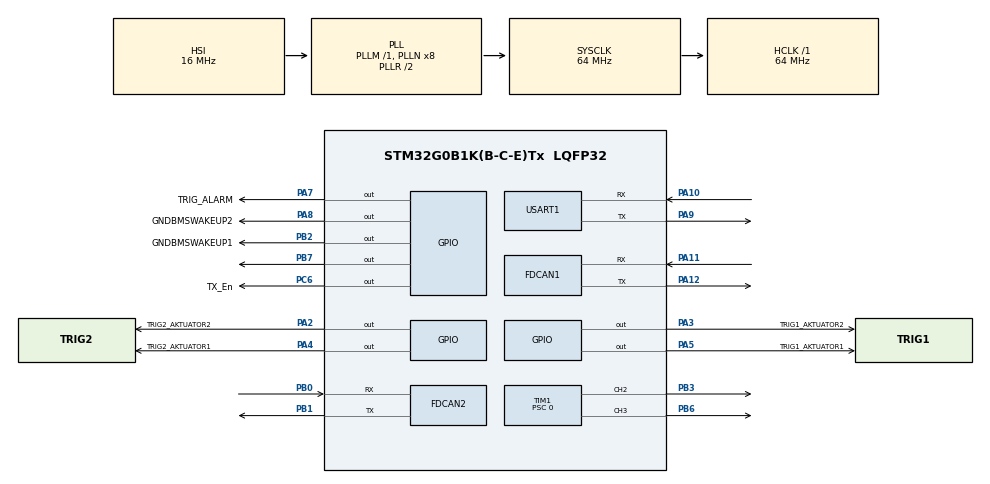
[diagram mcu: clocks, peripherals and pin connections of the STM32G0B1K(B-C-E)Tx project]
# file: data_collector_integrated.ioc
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Dma.Request0=TIM1_CH2
Dma.Request1=TIM1_CH3
Dma.Request2=USART1_RX
Dma.TIM1_CH2.0.Direction=DMA_MEMORY_TO_PERIPH
Dma.TIM1_CH2.0.EventEnable=DISABLE
Dma.TIM1_CH2.0.Instance=DMA1_Channel1
Dma.TIM1_CH2.0.MemDataAlignment=DMA_MDATAALIGN_HALFWORD
Dma.TIM1_CH2.0.MemInc=DMA_MINC_ENABLE
Dma.TIM1_CH2.0.Mode=DMA_NORMAL
Dma.TIM1_CH2.0.PeriphDataAlignment=DMA_PDATAALIGN_HALFWORD
Dma.TIM1_CH2.0.PeriphInc=DMA_PINC_DISABLE
Dma.TIM1_CH2.0.Polarity=HAL_DMAMUX_REQ_GEN_RISING
Dma.TIM1_CH2.0.Priority=DMA_PRIORITY_HIGH
Dma.TIM1_CH2.0.RequestNumber=1
Dma.TIM1_CH2.0.SignalID=NONE
Dma.TIM1_CH2.0.SyncEnable=DISABLE
Dma.TIM1_CH2.0.SyncPolarity=HAL_DMAMUX_SYNC_NO_EVENT
Dma.TIM1_CH2.0.SyncRequestNumber=1
Dma.TIM1_CH2.0.SyncSignalID=NONE
Dma.TIM1_CH3.1.Direction=DMA_MEMORY_TO_PERIPH
Dma.TIM1_CH3.1.EventEnable=DISABLE
Dma.TIM1_CH3.1.Instance=DMA1_Channel2
Dma.TIM1_CH3.1.MemDataAlignment=DMA_MDATAALIGN_HALFWORD
Dma.TIM1_CH3.1.MemInc=DMA_MINC_ENABLE
Dma.TIM1_CH3.1.Mode=DMA_NORMAL
Dma.TIM1_CH3.1.PeriphDataAlignment=DMA_PDATAALIGN_HALFWORD
Dma.TIM1_CH3.1.PeriphInc=DMA_PINC_DISABLE
Dma.TIM1_CH3.1.Polarity=HAL_DMAMUX_REQ_GEN_RISING
Dma.TIM1_CH3.1.Priority=DMA_PRIORITY_HIGH
Dma.TIM1_CH3.1.RequestNumber=1
Dma.TIM1_CH3.1.SignalID=NONE
Dma.TIM1_CH3.1.SyncEnable=DISABLE
Dma.TIM1_CH3.1.SyncPolarity=HAL_DMAMUX_SYNC_NO_EVENT
Dma.TIM1_CH3.1.SyncRequestNumber=1
Dma.TIM1_CH3.1.SyncSignalID=NONE
Dma.USART1_RX.2.Direction=DMA_PERIPH_TO_MEMORY
Dma.USART1_RX.2.EventEnable=DISABLE
Dma.USART1_RX.2.Instance=DMA1_Channel3
Dma.USART1_RX.2.MemDataAlignment=DMA_MDATAALIGN_BYTE
Dma.USART1_RX.2.MemInc=DMA_MINC_ENABLE
Dma.USART1_RX.2.Mode=DMA_NORMAL
Dma.USART1_RX.2.PeriphDataAlignment=DMA_PDATAALIGN_BYTE
Dma.USART1_RX.2.PeriphInc=DMA_PINC_DISABLE
Dma.USART1_RX.2.Polarity=HAL_DMAMUX_REQ_GEN_RISING
Dma.USART1_RX.2.Priority=DMA_PRIORITY_VERY_HIGH
Dma.USART1_RX.2.RequestNumber=1
Dma.USART1_RX.2.SignalID=NONE
Dma.USART1_RX.2.SyncEnable=DISABLE
Dma.USART1_RX.2.SyncPolarity=HAL_DMAMUX_SYNC_NO_EVENT
Dma.USART1_RX.2.SyncRequestNumber=1
Dma.USART1_RX.2.SyncSignalID=NONE
FDCAN1.CalculateBaudRateNominal=250000
FDCAN1.CalculateTimeBitNominal=4000
FDCAN1.CalculateTimeQuantumNominal=250.0
FDCAN1.NominalPrescaler=16
FDCAN1.NominalTimeSeg1=7
FDCAN1.NominalTimeSeg2=8
FDCAN2.CalculateBaudRateNominal=250000
FDCAN2.CalculateTimeBitNominal=4000
FDCAN2.CalculateTimeQuantumNominal=250.0
FDCAN2.NominalTimeSeg1=7
FDCAN2.NominalTimeSeg2=8
Mcu.Family=STM32G0
Mcu.Name=STM32G0B1K(B-C-E)Tx
Mcu.Package=LQFP32
NVIC.DMA1_Channel1_IRQn=true\:0\:0\:false\:false\:true\:false\:true\:true
NVIC.DMA1_Channel2_3_IRQn=true\:0\:0\:false\:false\:true\:false\:true\:true
NVIC.TIM16_FDCAN_IT0_IRQn=true\:0\:0\:false\:false\:true\:true\:true\:true
NVIC.TIM17_FDCAN_IT1_IRQn=true\:0\:0\:false\:false\:true\:true\:true\:true
NVIC.TIM1_BRK_UP_TRG_COM_IRQn=true\:0\:0\:false\:false\:true\:true\:true\:true
NVIC.TIM1_CC_IRQn=true\:0\:0\:false\:false\:true\:true\:true\:true
NVIC.USART1_IRQn=true\:0\:0\:false\:false\:true\:true\:true\:true
PA10.Mode=Asynchronous
PA10.Signal=USART1_RX
PA11\ [PA9].Mode=FDCAN_Activate
PA11\ [PA9].Signal=FDCAN1_RX
PA12\ [PA10].Mode=FDCAN_Activate
PA12\ [PA10].Signal=FDCAN1_TX
PA13.Mode=Serial_Wire
PA13.Signal=SYS_SWDIO
PA14-BOOT0.Mode=Serial_Wire
PA14-BOOT0.Signal=SYS_SWCLK
PA2.GPIO_Label=TRIG2_AKTUATOR2
PA2.Signal=GPIO_Output
PA3.GPIO_Label=TRIG1_AKTUATOR2
PA3.Signal=GPIO_Output
PA4.GPIO_Label=TRIG2_AKTUATOR1
PA4.Signal=GPIO_Output
PA5.GPIO_Label=TRIG1_AKTUATOR1
PA5.Signal=GPIO_Output
PA7.GPIO_Label=TRIG_ALARM
PA7.Signal=GPIO_Output
PA8.GPIO_Label=GNDBMSWAKEUP2
PA8.Signal=GPIO_Output
PA9.Mode=Asynchronous
PA9.Signal=USART1_TX
PB0.Mode=FDCAN_Activate
PB0.Signal=FDCAN2_RX
PB1.Mode=FDCAN_Activate
PB1.Signal=FDCAN2_TX
PB2.GPIO_Label=GNDBMSWAKEUP1
PB2.Signal=GPIO_Output
PB3.Signal=S_TIM1_CH2
PB6.Signal=S_TIM1_CH3
PB7.Signal=GPIO_Output
PC6.GPIO_Label=TX_En
PC6.Signal=GPIO_Output
ProjectManager.HeapSize=0x200
ProjectManager.StackSize=0x400
ProjectManager.TargetToolchain=STM32CubeIDE
RCC.ADCFreq_Value=64000000
RCC.AHBFreq_Value=64000000
RCC.CortexFreq_Value=64000000
RCC.EXTERNAL_CLOCK_VALUE=48000
RCC.HCLKFreq_Value=64000000
RCC.HSE_VALUE=8000000
RCC.HSI48_VALUE=48000000
RCC.HSI_VALUE=16000000
RCC.LSE_VALUE=32768
RCC.SYSCLKFreq_VALUE=64000000
RCC.SYSCLKSource=RCC_SYSCLKSOURCE_PLLCLK
RCC.USBFreq_Value=48000000
RCC.VCOOutputFreq_Value=128000000
SH.S_TIM1_CH2.0=TIM1_CH2,PWM Generation2 CH2
SH.S_TIM1_CH3.0=TIM1_CH3,PWM Generation3 CH3
TIM1.Channel-PWM\ Generation2\ CH2=TIM_CHANNEL_2
TIM1.Channel-PWM\ Generation3\ CH3=TIM_CHANNEL_3
TIM1.OCFastMode_PWM-PWM\ Generation3\ CH3=TIM_OCFAST_ENABLE
TIM1.Period=79
TIM1.Prescaler=0
TIM1.TIM_MasterOutputTrigger=TIM_TRGO_UPDATE
USART1.VirtualMode-Asynchronous=VM_ASYNC
VP_TIM1_VS_ClockSourceINT.Mode=Internal
board=custom

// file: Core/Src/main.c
/* USER CODE BEGIN Header */
/**
  ******************************************************************************
  * @file           : main.c
  * @brief          : Main program body
  ******************************************************************************
  * @attention
  *
  * Copyright (c) 2023 STMicroelectronics.
  * All rights reserved.
  *
  * This software is licensed under terms that can be found in the LICENSE file
  * in the root directory of this software component.
  * If no LICENSE file comes with this software, it is provided AS-IS.
  *
  ******************************************************************************
  */
/* USER CODE END Header */
#include "main.h"

/* USER CODE BEGIN Includes */
#include"CANbus.h"
#include "stdio.h"
#include <stdbool.h>
#include "stdlib.h"
#include "string.h"
#include "math.h"
#include <rs485-bus.h>
#include <rs485-bus/slave.h>
#include <dma_streamer.h>
//#include "serial_com.h"
#include <report.h>
#include "mode.h"
#include"ws2812.h"
#include"FLASH_PAGE_F1.h"
//#include"FLASH_SECTOR_H7.h"
//#include"backup.h"
/* USER CODE END Includes */

/* USER CODE BEGIN PD */
#define RS485_SLAVE_ID_1 1
#define RS485_SLAVE_ID_2 2
#define BUF_UART_RX_SZ 1024

#define EVENT_REQ_REPORT 0x01
#define EVENT_START_CHARGING 0x02
#define EVENT_STOP_CHARGING 0x03
#define EVENT_LOCK 0x04
#define EVENT_UNLOCK 0x05

FDCAN_FilterTypeDef sFilterConfig;
FDCAN_FilterTypeDef sFilterConfig2;
FDCAN_RxHeaderTypeDef RxHeader;
FDCAN_TxHeaderTypeDef TxHeader;

uint32_t data[]={0x11111111,0x22222222};
uint32_t data2[]={0x00000000,0x00000000};

struct {
 	unsigned int pc;
 	unsigned int led;
 	unsigned int RS485;
 	unsigned int backup;
 } tick;

  slot slot1,slot2;
  bool report_finish=0;
  unsigned int current_millis=0;
  unsigned int can_tx_tick=0;

  char b[15]="\r\n";
  char koma[15]=",";
  char header[15]="$fauqi";
  char buff[99];
  char cVbatt[16];
  char cAbatt[16];
  char cbatt_SOC[16];
  char cbatt_temp[16];
  char cVcharger[16];
  char cAcharger[16];

  FDCAN_RxHeaderTypeDef RxHeader2;
  FDCAN_TxHeaderTypeDef TxHeader2;
/* USER CODE END PD */

FDCAN_HandleTypeDef hfdcan1;
FDCAN_HandleTypeDef hfdcan2;

TIM_HandleTypeDef htim1;
DMA_HandleTypeDef hdma_tim1_ch2;
DMA_HandleTypeDef hdma_tim1_ch3;

UART_HandleTypeDef huart1;
DMA_HandleTypeDef hdma_usart1_rx;

/* USER CODE BEGIN PV */

RS485_Bus_SlaveHandler rs485_hslave;

STRM_handlerTypeDef hdma;
static uint8_t UartBufferRx[BUF_UART_RX_SZ];
static uint8_t eventRespSuccess = 0;
static uint8_t eventRespError = 1;
/* USER CODE END PV */

void SystemClock_Config(void);
static void MX_GPIO_Init(void);
static void MX_DMA_Init(void);
static void MX_FDCAN1_Init(void);
static void MX_FDCAN2_Init(void);
static void MX_TIM1_Init(void);
static void MX_USART1_UART_Init(void);
/* USER CODE BEGIN PFP */
static void MX_RS485_Slave_Init(void);

static int UartRead(uint8_t *buffer, uint16_t bufferLen);
static int UartWrite(uint8_t *buffer, uint16_t bufferLen);

static void onEventReqReport(RS484_BUS_Id_t,
                             uint8_t *buffer, uint16_t bufferLen,
                             RS485_Bus_EventResponse_t *resp);
static void onEventStartCharging(RS484_BUS_Id_t,
                                 uint8_t *buffer, uint16_t bufferLen,
                                 RS485_Bus_EventResponse_t *resp);
static void onEventStopCharging(RS484_BUS_Id_t,
                                uint8_t *buffer, uint16_t bufferLen,
                                RS485_Bus_EventResponse_t *resp);
static void onEventLock(RS484_BUS_Id_t,
                                uint8_t *buffer, uint16_t bufferLen,
                                RS485_Bus_EventResponse_t *resp);
static void onEventUnlock(RS484_BUS_Id_t,
                                uint8_t *buffer, uint16_t bufferLen,
                                RS485_Bus_EventResponse_t *resp);
/* USER CODE END PFP */

int main(void)
{

  /* MCU Configuration--------------------------------------------------------*/

  /* Reset of all peripherals, Initializes the Flash interface and the Systick. */
  HAL_Init();

  /* Configure the system clock */
  SystemClock_Config();

  /* Initialize all configured peripherals */
  MX_GPIO_Init();
  MX_DMA_Init();
  MX_FDCAN1_Init();
  MX_FDCAN2_Init();
  MX_TIM1_Init();
  MX_USART1_UART_Init();
  /* USER CODE BEGIN 2 */
  MX_RS485_Slave_Init();
  CAN_config();
  slot1.notif=led_standby;
  slot2.notif=led_standby;
  slot1.state = standby;
  slot2.state=standby;

  slot1.wake_trig=1;
  slot2.wake_trig=1;
  slot1.last_lock_state=1;
  slot2.last_lock_state=1;
  slot1.charger_start_DIS=1;
  slot2.charger_start_DIS=1;
  slot1.unlock_command=1;
  slot2.unlock_command=1;
  slot1.batt_state=0x01;
  slot2.batt_state=0x01;

  slot1.datasentflag=0;
  slot2.datasentflag=1;

  fault_led(&slot1);
  fault_led(&slot2);

  HAL_GPIO_WritePin(TX_En_GPIO_Port, TX_En_Pin, GPIO_PIN_RESET);
  HAL_UART_Receive_DMA(&huart1, UartBufferRx,BUF_UART_RX_SZ);

  /* USER CODE END 2 */

  /* Infinite loop */
  /* USER CODE BEGIN WHILE */
  while (1)
  {

	  /*
	   * 											Data Collector work flow
	   * mula-mula kondisi slot adalah stanby, pada kondisi stanby ini triger wake akan bernilai HIGH dan aktuator akan open,pada kondisi konektor belum dipasangkan pada baterai sehingga CAN baterai belum terbaca
	   * pada kondisi stanby ini, jika terjadi komunikasi error pada charger maka sistem akan mengirimkan informasi berupa CAN communication Error, sedangkan jika baterai yg error tidak terjadi apa-apa karena dianggap baterai masih belum ditancapkan
	   * pada kondisi standby saat terjadi hardware failure maka akan masuk mode fault
	   *
	   * saat konektor ditancapkan pada baterai dan CAN dari baterai terdeteksi oleh data collector, maka triger wakeup baterai akan low dan mode berubah menjadi swap
	   * pada kondisi mode swap, jika CAN baterai kembali tidak terdeteksi maka mode akan kembali menjadi stanby dan triger wakeup akan kembali HIGH,
	   * pada kondisi mode swap jika terjadi error pada charger maka akan mengirimkan notif CAN error state dan sistem tidak bisa dijalankan(lock/start charging)
	   * pada kondisi mode swap jika diperintah start charging maka perintah tidak akan dilaksanakan, melainkan aktuator harus dipastikan dalam keadaan mengunci dan tidak ada error(fault) pada baterai maupun charger
	   * seteleah kondisi terpenuhi dan perintah start charging diterima, maka mode akan menjadi charging kemudian batre dan charger akan diset untuk charge
	   * pada mode swap, saat diberikan perintah lock maka aktuator akan lock, saat unlock maka akan unlock
	   * pada kondisi mode swap saat terjadi hardware failure maka akan masuk mode fault
	   *
	   * pada mode charging, saat CAN baik dari batre maupun charger tidak terbaca selama 5 detik maka akan masuk mode fault, namun jika CAN nya kembali maka akan tetap lanjut charging
	   * pada mode charging, saat perintah unlock diterima namun kondisi charger masih dalam charging state maka unlock dihiraukan,
	   * pada mode charging, ketika perintah stop charging diberikan maka charger dan bms akan diset ke state open,
	   * pada mode charging, ketika baterai sudah full maka led akan masuk mode stanby
	   * pada mode charging, ketika perintah unlock diterima dan charging sudah di stop maka aktuator akan dibuka dan led akan berubah menjadi mode ready_pick hingga CAN terputus,setelah itu masuk mode stanby
	   * pada mode charging, saat terjadi hardware failure maka akan masuk mode fault
	   *
	   * saat kondisi slot statusnya Fault: jika status sebelumnya adalah standby dan errornya adalah CAN communication error pada charger, maka hanya mengirimkan error tersebut dan saat CAN kembali maka mode akan otomatis ke standby
	   * 									  jika status sebelumnya adalah swap dan CAN baterai hilang maka mode akan dikembalikan ke standby
	   * 									  jika status sebelumnya adalah charging, saat jika baterai saja yang CAN nya hilang maka akan terindikasi adanya pencurian
	   * 									  jika baterai dan charger yang hilang maka yang diindikasi error adalah komunikasinya
	   *	saat kondisi hardware failure, maka charger dan bms akan diopen
	   */

//slot1.notif = led_swap;
//slot2.notif = led_swap;

	  switch(slot1.notif)
	  {
	  case led_standby:
		  standby_led(&slot1);
		  break;
	  case led_swap:
		  swap_led(&slot1);
		  break;
	  case led_charging:
		   charging_led(&slot1);
		   break;
	  case led_fault:
		  fault_led(&slot1);
		  break;
	  case led_ready_pick:
		  ready_pick_led(&slot1);
		  break;
	  default:
		  standby_led(&slot1);
		  break;
	  }

	  switch(slot2.notif)
	  {
	  case led_standby:
		  standby_led(&slot2);
		  break;
	  case led_swap:
		  swap_led(&slot2);
		  break;
	  case led_charging:
		   charging_led(&slot2);
		   break;
	  case led_fault:
		  fault_led(&slot2);
		  break;
	  case led_ready_pick:
		  ready_pick_led(&slot2);
		  break;
	  default:
		  standby_led(&slot2);
		  break;
	  }

	  RS485_Bus_Slave_Process(&rs485_hslave);
	  if(slot1.batt_protocol1==1&&slot1.batt_protocol2==1)slot1.isBattery=1;
	  else slot1.isBattery=0;
	  if(slot2.batt_protocol1==1&& slot2.batt_protocol2==1)slot2.isBattery=1;
	  else slot2.isBattery=0;

	  switch(slot1.state)
		  {
		  case standby:
			  slot1.notif=led_standby;
			  standby_mode(&slot1);
			  break;
		  case charging:
			  if(slot1.SOC_batt<100&&slot1.charge_state==1)
			  slot1.notif=led_charging;
			  charging_mode(&slot1);
			  break;
		  case fault:
			  slot1.notif=led_fault;
			  fault_mode(&slot1);
			  break;
		  case swap:
			  slot1.notif=led_swap;
			  swap_mode(&slot1);
			  break;
		  default:
			  slot1.notif=standby;
			  slot1.state = standby;
			  break;
		  }

	  switch(slot2.state)
		  {
		  case standby:
			  slot2.notif=led_standby;
			  standby_mode(&slot2);
			  break;
		  case charging:
			  if(slot2.SOC_batt<100&&slot2.charge_state==1)
			  slot2.notif=led_charging;
			  charging_mode(&slot2);
			  break;
		  case fault:
			  slot2.notif=led_fault;
			  fault_mode(&slot2);
			  break;
		  case swap:
			  slot2.notif=led_swap;
			  swap_mode(&slot2);
			  break;
		  default:
			  slot2.notif=standby;
			  slot2.state = standby;
			  break;
		  }

		  if(slot1.batt_discharge_overcurrent==1||slot1.batt_charge_overCurrent==1||slot1.batt_short_circuit==1||slot1.batt_discharge_overtempreature==1||slot1.batt_discharge_undertempreature==1|| slot1.batt_charge_overtempreature==1||slot1.batt_charge_undertempreature==1||slot1.batt_under_voltage==1||slot1.batt_over_voltage==1||slot1.batt_over_discharge_capacity==1||slot1.batt_unbalance==1|| slot1.batt_system_failure==1|| slot1.charger_hardware_error==1||slot1.charger_temp==1||slot1.charger_input_voltage==1||slot1.charger_work_condition==1||slot1.charger_communication_error==1)
		  {
			  slot1.hardware_failure=1;
		  }
		  else slot1.hardware_failure=0;

		  if(slot2.batt_discharge_overcurrent==1||slot2.batt_charge_overCurrent==1||slot2.batt_short_circuit==1||slot2.batt_discharge_overtempreature==1||slot2.batt_discharge_undertempreature==1|| slot2.batt_charge_overtempreature==1||slot2.batt_charge_undertempreature==1||slot2.batt_under_voltage==1||slot2.batt_over_voltage==1||slot2.batt_over_discharge_capacity==1||slot2.batt_unbalance==1|| slot2.batt_system_failure==1|| slot2.charger_hardware_error==1||slot2.charger_temp==1||slot2.charger_input_voltage==1||slot2.charger_work_condition==1||slot2.charger_communication_error==1)
		  {
			slot2.hardware_failure=1;

		  }
		  else slot2.hardware_failure=0;

		  if(HAL_GetTick()-can_tx_tick>1000)
		  {
//			  counter_todel=counter_todel+1.0;
//			  Vbatt=Vbatt-(0.001*counter_todel);
//			  ftoa(Vbatt,cVbatt,2);
//			  ftoa(Abatt,cAbatt,1);
//			  ftoa(SOC_batt,cbatt_SOC,2);
//			  ftoa(Vcharger,cVcharger,2);
//			  ftoa(Acharger,cAcharger,2);
//			  intToStr(temp_batt, cbatt_temp,2);
//			  sprintf(buff,"$fauqi,%s,%s,%s,%s,%s,%s,%d,%d,%d,%d,%d,%d,%d,%d,%d,%d,%d,%d,%d,%d,%d,%d,%d,%d,%d,%d,%d,\r\n",cVbatt,cAbatt,cbatt_SOC,cbatt_temp,cVcharger,cAcharger,charger_start_DIS,charger_hardware_error,charger_temp,charger_input_voltage,charger_work_condition,charger_communication_error,batt_discharge_overcurrent,batt_charge_overCurrent,batt_short_circuit,batt_discharge_overtempreature,batt_discharge_undertempreature,batt_charge_overtempreature,batt_charge_undertempreature,batt_under_voltage,batt_over_voltage,batt_over_discharge_capacity,batt_unbalance,batt_system_failure,batt_charge_state,batt_discharge_state,batt_sleep_state);
//			  strcpy(Tx_Data,buff);
			  CAN_TX();

	//		  HAL_GPIO_WritePin(GPIOA, GPIO_PIN_8,GPIO_PIN_SET);
	//		  HAL_UART_Transmit(&huart1, (uint8_t *)Tx_Data, strlen(Tx_Data), 100);
	//		  HAL_GPIO_WritePin(GPIOA, GPIO_PIN_8,GPIO_PIN_RESET);
			  HAL_GPIO_TogglePin(GPIOB, GPIO_PIN_7);
			  can_tx_tick=HAL_GetTick();

		  }
		  if(HAL_GetTick()-current_millis>5000)
		  {
			  rutin_cek_can();
			  current_millis=HAL_GetTick();
		  }

		  if(slot1.current_lock_state!=slot1.last_lock_state)
		  {
			  if(slot1.current_lock_state==0)
			  {
				  slot1.trig1_state=0;
				  slot1.trig2_state=1;
			  }
			  else
			  {
				  slot1.trig1_state=1;
				  slot1.trig2_state=0;
			  }
			  slot1.current_millis_trig=HAL_GetTick();
			  slot1.last_lock_state=slot1.current_lock_state;
		  }

		  if(HAL_GetTick()-slot1.current_millis_trig>4000)
		  {
			  slot1.trig1_state=0;
			  slot1.trig2_state=0;
		  }
		  if(HAL_GetTick()-slot2.current_millis_trig>4000)
		  {
			  slot2.trig1_state=0;
			  slot2.trig2_state=0;
		  }
		  if(slot1.wake_trig)HAL_GPIO_WritePin(GNDBMSWAKEUP1_GPIO_Port, GNDBMSWAKEUP1_Pin, GPIO_PIN_SET);
		  else HAL_GPIO_WritePin(GNDBMSWAKEUP1_GPIO_Port, GNDBMSWAKEUP1_Pin, GPIO_PIN_RESET);
		  if(slot2.wake_trig)HAL_GPIO_WritePin(GNDBMSWAKEUP2_GPIO_Port, GNDBMSWAKEUP2_Pin, GPIO_PIN_SET);
		  else HAL_GPIO_WritePin(GNDBMSWAKEUP2_GPIO_Port, GNDBMSWAKEUP2_Pin, GPIO_PIN_RESET);
		  send_led();
    /* USER CODE END WHILE */

  }
}

void SystemClock_Config(void)
{
  RCC_OscInitTypeDef RCC_OscInitStruct = {0};
  RCC_ClkInitTypeDef RCC_ClkInitStruct = {0};

  /** Configure the main internal regulator output voltage
  */
  HAL_PWREx_ControlVoltageScaling(PWR_REGULATOR_VOLTAGE_SCALE1);

  /** Initializes the RCC Oscillators according to the specified parameters
  * in the RCC_OscInitTypeDef structure.
  */
  RCC_OscInitStruct.OscillatorType = RCC_OSCILLATORTYPE_HSI;
  RCC_OscInitStruct.HSIState = RCC_HSI_ON;
  RCC_OscInitStruct.HSIDiv = RCC_HSI_DIV1;
  RCC_OscInitStruct.HSICalibrationValue = RCC_HSICALIBRATION_DEFAULT;
  RCC_OscInitStruct.PLL.PLLState = RCC_PLL_ON;
  RCC_OscInitStruct.PLL.PLLSource = RCC_PLLSOURCE_HSI;
  RCC_OscInitStruct.PLL.PLLM = RCC_PLLM_DIV1;
  RCC_OscInitStruct.PLL.PLLN = 8;
  RCC_OscInitStruct.PLL.PLLP = RCC_PLLP_DIV2;
  RCC_OscInitStruct.PLL.PLLQ = RCC_PLLQ_DIV2;
  RCC_OscInitStruct.PLL.PLLR = RCC_PLLR_DIV2;
  if (HAL_RCC_OscConfig(&RCC_OscInitStruct) != HAL_OK)
  {
    Error_Handler();
  }

  /** Initializes the CPU, AHB and APB buses clocks
  */
  RCC_ClkInitStruct.ClockType = RCC_CLOCKTYPE_HCLK|RCC_CLOCKTYPE_SYSCLK
                              |RCC_CLOCKTYPE_PCLK1;
  RCC_ClkInitStruct.SYSCLKSource = RCC_SYSCLKSOURCE_PLLCLK;
  RCC_ClkInitStruct.AHBCLKDivider = RCC_SYSCLK_DIV1;
  RCC_ClkInitStruct.APB1CLKDivider = RCC_HCLK_DIV1;

  if (HAL_RCC_ClockConfig(&RCC_ClkInitStruct, FLASH_LATENCY_2) != HAL_OK)
  {
    Error_Handler();
  }
}

static void MX_FDCAN1_Init(void)
{

  hfdcan1.Instance = FDCAN1;
  hfdcan1.Init.ClockDivider = FDCAN_CLOCK_DIV1;
  hfdcan1.Init.FrameFormat = FDCAN_FRAME_CLASSIC;
  hfdcan1.Init.Mode = FDCAN_MODE_NORMAL;
  hfdcan1.Init.AutoRetransmission = DISABLE;
  hfdcan1.Init.TransmitPause = DISABLE;
  hfdcan1.Init.ProtocolException = DISABLE;
  hfdcan1.Init.NominalPrescaler = 16;
  hfdcan1.Init.NominalSyncJumpWidth = 1;
  hfdcan1.Init.NominalTimeSeg1 = 7;
  hfdcan1.Init.NominalTimeSeg2 = 8;
  hfdcan1.Init.DataPrescaler = 1;
  hfdcan1.Init.DataSyncJumpWidth = 1;
  hfdcan1.Init.DataTimeSeg1 = 1;
  hfdcan1.Init.DataTimeSeg2 = 1;
  hfdcan1.Init.StdFiltersNbr = 0;
  hfdcan1.Init.ExtFiltersNbr = 0;
  hfdcan1.Init.TxFifoQueueMode = FDCAN_TX_FIFO_OPERATION;
  if (HAL_FDCAN_Init(&hfdcan1) != HAL_OK)
  {
    Error_Handler();
  }

}

static void MX_FDCAN2_Init(void)
{

  hfdcan2.Instance = FDCAN2;
  hfdcan2.Init.ClockDivider = FDCAN_CLOCK_DIV1;
  hfdcan2.Init.FrameFormat = FDCAN_FRAME_CLASSIC;
  hfdcan2.Init.Mode = FDCAN_MODE_NORMAL;
  hfdcan2.Init.AutoRetransmission = DISABLE;
  hfdcan2.Init.TransmitPause = DISABLE;
  hfdcan2.Init.ProtocolException = DISABLE;
  hfdcan2.Init.NominalPrescaler = 16;
  hfdcan2.Init.NominalSyncJumpWidth = 1;
  hfdcan2.Init.NominalTimeSeg1 = 7;
  hfdcan2.Init.NominalTimeSeg2 = 8;
  hfdcan2.Init.DataPrescaler = 1;
  hfdcan2.Init.DataSyncJumpWidth = 1;
  hfdcan2.Init.DataTimeSeg1 = 1;
  hfdcan2.Init.DataTimeSeg2 = 1;
  hfdcan2.Init.StdFiltersNbr = 0;
  hfdcan2.Init.ExtFiltersNbr = 0;
  hfdcan2.Init.TxFifoQueueMode = FDCAN_TX_FIFO_OPERATION;
  if (HAL_FDCAN_Init(&hfdcan2) != HAL_OK)
  {
    Error_Handler();
  }

}

static void MX_TIM1_Init(void)
{

  TIM_ClockConfigTypeDef sClockSourceConfig = {0};
  TIM_MasterConfigTypeDef sMasterConfig = {0};
  TIM_OC_InitTypeDef sConfigOC = {0};
  TIM_BreakDeadTimeConfigTypeDef sBreakDeadTimeConfig = {0};

  htim1.Instance = TIM1;
  htim1.Init.Prescaler = 0;
  htim1.Init.CounterMode = TIM_COUNTERMODE_UP;
  htim1.Init.Period = 79;
  htim1.Init.ClockDivision = TIM_CLOCKDIVISION_DIV1;
  htim1.Init.RepetitionCounter = 0;
  htim1.Init.AutoReloadPreload = TIM_AUTORELOAD_PRELOAD_DISABLE;
  if (HAL_TIM_Base_Init(&htim1) != HAL_OK)
  {
    Error_Handler();
  }
  sClockSourceConfig.ClockSource = TIM_CLOCKSOURCE_INTERNAL;
  if (HAL_TIM_ConfigClockSource(&htim1, &sClockSourceConfig) != HAL_OK)
  {
    Error_Handler();
  }
  if (HAL_TIM_PWM_Init(&htim1) != HAL_OK)
  {
    Error_Handler();
  }
  sMasterConfig.MasterOutputTrigger = TIM_TRGO_UPDATE;
  sMasterConfig.MasterOutputTrigger2 = TIM_TRGO2_RESET;
  sMasterConfig.MasterSlaveMode = TIM_MASTERSLAVEMODE_DISABLE;
  if (HAL_TIMEx_MasterConfigSynchronization(&htim1, &sMasterConfig) != HAL_OK)
  {
    Error_Handler();
  }
  sConfigOC.OCMode = TIM_OCMODE_PWM1;
  sConfigOC.Pulse = 0;
  sConfigOC.OCPolarity = TIM_OCPOLARITY_HIGH;
  sConfigOC.OCNPolarity = TIM_OCNPOLARITY_HIGH;
  sConfigOC.OCFastMode = TIM_OCFAST_DISABLE;
  sConfigOC.OCIdleState = TIM_OCIDLESTATE_RESET;
  sConfigOC.OCNIdleState = TIM_OCNIDLESTATE_RESET;
  if (HAL_TIM_PWM_ConfigChannel(&htim1, &sConfigOC, TIM_CHANNEL_2) != HAL_OK)
  {
    Error_Handler();
  }
  sConfigOC.OCFastMode = TIM_OCFAST_ENABLE;
  if (HAL_TIM_PWM_ConfigChannel(&htim1, &sConfigOC, TIM_CHANNEL_3) != HAL_OK)
  {
    Error_Handler();
  }
  sBreakDeadTimeConfig.OffStateRunMode = TIM_OSSR_DISABLE;
  sBreakDeadTimeConfig.OffStateIDLEMode = TIM_OSSI_DISABLE;
  sBreakDeadTimeConfig.LockLevel = TIM_LOCKLEVEL_OFF;
  sBreakDeadTimeConfig.DeadTime = 0;
  sBreakDeadTimeConfig.BreakState = TIM_BREAK_DISABLE;
  sBreakDeadTimeConfig.BreakPolarity = TIM_BREAKPOLARITY_HIGH;
  sBreakDeadTimeConfig.BreakFilter = 0;
  sBreakDeadTimeConfig.BreakAFMode = TIM_BREAK_AFMODE_INPUT;
  sBreakDeadTimeConfig.Break2State = TIM_BREAK2_DISABLE;
  sBreakDeadTimeConfig.Break2Polarity = TIM_BREAK2POLARITY_HIGH;
  sBreakDeadTimeConfig.Break2Filter = 0;
  sBreakDeadTimeConfig.Break2AFMode = TIM_BREAK_AFMODE_INPUT;
  sBreakDeadTimeConfig.AutomaticOutput = TIM_AUTOMATICOUTPUT_DISABLE;
  if (HAL_TIMEx_ConfigBreakDeadTime(&htim1, &sBreakDeadTimeConfig) != HAL_OK)
  {
    Error_Handler();
  }
  HAL_TIM_MspPostInit(&htim1);

}

static void MX_USART1_UART_Init(void)
{

  huart1.Instance = USART1;
  huart1.Init.BaudRate = 115200;
  huart1.Init.WordLength = UART_WORDLENGTH_8B;
  huart1.Init.StopBits = UART_STOPBITS_1;
  huart1.Init.Parity = UART_PARITY_NONE;
  huart1.Init.Mode = UART_MODE_TX_RX;
  huart1.Init.HwFlowCtl = UART_HWCONTROL_NONE;
  huart1.Init.OverSampling = UART_OVERSAMPLING_16;
  huart1.Init.OneBitSampling = UART_ONE_BIT_SAMPLE_DISABLE;
  huart1.Init.ClockPrescaler = UART_PRESCALER_DIV1;
  huart1.AdvancedInit.AdvFeatureInit = UART_ADVFEATURE_NO_INIT;
  if (HAL_UART_Init(&huart1) != HAL_OK)
  {
    Error_Handler();
  }
  if (HAL_UARTEx_SetTxFifoThreshold(&huart1, UART_TXFIFO_THRESHOLD_1_8) != HAL_OK)
  {
    Error_Handler();
  }
  if (HAL_UARTEx_SetRxFifoThreshold(&huart1, UART_RXFIFO_THRESHOLD_1_8) != HAL_OK)
  {
    Error_Handler();
  }
  if (HAL_UARTEx_DisableFifoMode(&huart1) != HAL_OK)
  {
    Error_Handler();
  }

}

static void MX_DMA_Init(void)
{

  /* DMA controller clock enable */
  __HAL_RCC_DMA1_CLK_ENABLE();

  /* DMA interrupt init */
  /* DMA1_Channel1_IRQn interrupt configuration */
  HAL_NVIC_SetPriority(DMA1_Channel1_IRQn, 0, 0);
  HAL_NVIC_EnableIRQ(DMA1_Channel1_IRQn);
  /* DMA1_Channel2_3_IRQn interrupt configuration */
  HAL_NVIC_SetPriority(DMA1_Channel2_3_IRQn, 0, 0);
  HAL_NVIC_EnableIRQ(DMA1_Channel2_3_IRQn);

}

static void MX_GPIO_Init(void)
{
  GPIO_InitTypeDef GPIO_InitStruct = {0};

  /* GPIO Ports Clock Enable */
  __HAL_RCC_GPIOA_CLK_ENABLE();
  __HAL_RCC_GPIOB_CLK_ENABLE();
  __HAL_RCC_GPIOC_CLK_ENABLE();

  /*Configure GPIO pin Output Level */
  HAL_GPIO_WritePin(GPIOA, TRIG2_AKTUATOR2_Pin|TRIG1_AKTUATOR2_Pin|TRIG2_AKTUATOR1_Pin|TRIG1_AKTUATOR1_Pin
                          |TRIG_ALARM_Pin|GNDBMSWAKEUP2_Pin, GPIO_PIN_RESET);

  /*Configure GPIO pin Output Level */
  HAL_GPIO_WritePin(GPIOB, GNDBMSWAKEUP1_Pin|GPIO_PIN_7, GPIO_PIN_RESET);

  /*Configure GPIO pin Output Level */
  HAL_GPIO_WritePin(TX_En_GPIO_Port, TX_En_Pin, GPIO_PIN_RESET);

  /*Configure GPIO pins : TRIG2_AKTUATOR2_Pin TRIG1_AKTUATOR2_Pin TRIG2_AKTUATOR1_Pin TRIG1_AKTUATOR1_Pin
                           TRIG_ALARM_Pin GNDBMSWAKEUP2_Pin */
  GPIO_InitStruct.Pin = TRIG2_AKTUATOR2_Pin|TRIG1_AKTUATOR2_Pin|TRIG2_AKTUATOR1_Pin|TRIG1_AKTUATOR1_Pin
                          |TRIG_ALARM_Pin|GNDBMSWAKEUP2_Pin;
  GPIO_InitStruct.Mode = GPIO_MODE_OUTPUT_PP;
  GPIO_InitStruct.Pull = GPIO_NOPULL;
  GPIO_InitStruct.Speed = GPIO_SPEED_FREQ_LOW;
  HAL_GPIO_Init(GPIOA, &GPIO_InitStruct);

  /*Configure GPIO pins : GNDBMSWAKEUP1_Pin PB7 */
  GPIO_InitStruct.Pin = GNDBMSWAKEUP1_Pin|GPIO_PIN_7;
  GPIO_InitStruct.Mode = GPIO_MODE_OUTPUT_PP;
  GPIO_InitStruct.Pull = GPIO_NOPULL;
  GPIO_InitStruct.Speed = GPIO_SPEED_FREQ_LOW;
  HAL_GPIO_Init(GPIOB, &GPIO_InitStruct);

  /*Configure GPIO pin : TX_En_Pin */
  GPIO_InitStruct.Pin = TX_En_Pin;
  GPIO_InitStruct.Mode = GPIO_MODE_OUTPUT_PP;
  GPIO_InitStruct.Pull = GPIO_NOPULL;
  GPIO_InitStruct.Speed = GPIO_SPEED_FREQ_LOW;
  HAL_GPIO_Init(TX_En_GPIO_Port, &GPIO_InitStruct);

}

/* USER CODE BEGIN 4 */
static void MX_RS485_Slave_Init(void)
{
  HAL_UART_Receive_DMA(&huart1, UartBufferRx,BUF_UART_RX_SZ);
  rs485_hslave.read = UartRead;
  rs485_hslave.write = UartWrite;
  RS485_Bus_Slave_Init(&rs485_hslave);
  RS485_Bus_Slave_AddId(&rs485_hslave, RS485_SLAVE_ID_1);
  RS485_Bus_Slave_AddId(&rs485_hslave, RS485_SLAVE_ID_2);

  RS485_Bus_Slave_On(&rs485_hslave, EVENT_REQ_REPORT, onEventReqReport);
  RS485_Bus_Slave_On(&rs485_hslave, EVENT_START_CHARGING, onEventStartCharging);
  RS485_Bus_Slave_On(&rs485_hslave, EVENT_STOP_CHARGING, onEventStopCharging);
  RS485_Bus_Slave_On(&rs485_hslave, EVENT_LOCK, onEventLock);
  RS485_Bus_Slave_On(&rs485_hslave, EVENT_UNLOCK, onEventUnlock);

  hdma.huart = &huart1;
  STRM_Init(&hdma, 0, 0, &UartBufferRx[0],BUF_UART_RX_SZ);

}

static int UartRead(uint8_t *buffer, uint16_t bufferLen)
{

 return (int) STRM_Read(&hdma, buffer, bufferLen, 10);
}

static int UartWrite(uint8_t *buffer, uint16_t bufferLen)
{
  HAL_GPIO_WritePin(GPIOC, GPIO_PIN_6, GPIO_PIN_SET);
  HAL_UART_Transmit(&huart1, buffer, bufferLen, 100);
  HAL_GPIO_WritePin(GPIOC, GPIO_PIN_6, GPIO_PIN_RESET);
  return bufferLen;
}

static void onEventReqReport(RS484_BUS_Id_t id, uint8_t *buffer, uint16_t bufferLen, RS485_Bus_EventResponse_t *resp)
{
  static int soc = 0;
  soc++;

  Report_ResetFrame(&tmpReportFrame);
  if(id==RS485_SLAVE_ID_1)
  {
  tmpReportFrame.charger.status = slot1.batt_charge_state;
  tmpReportFrame.bms.SOC = slot1.SOC_batt;
  tmpReportFrame.bms.voltage =slot1.Vbatt;
  tmpReportFrame.bms.current=slot1.Abatt;
  tmpReportFrame.bms.SOH=slot1.SOH_batt;
  tmpReportFrame.bms.temperature=slot1.temp_batt;
  tmpReportFrame.bms.id=slot1.batt_id;

  slot1.CAN_error_state=0;
  }
  else if(id==RS485_SLAVE_ID_2)
  {
  tmpReportFrame.charger.status = slot2.batt_charge_state;
  tmpReportFrame.bms.SOC = slot2.SOC_batt;
  tmpReportFrame.bms.voltage =slot2.Vbatt;
  tmpReportFrame.bms.current=slot2.Abatt;
  tmpReportFrame.bms.SOH=slot2.SOH_batt;
  tmpReportFrame.bms.temperature=slot2.temp_batt;
  tmpReportFrame.bms.id=slot2.batt_id;
  slot2.CAN_error_state=0;
  }

  resp->data = (uint8_t*) &tmpReportFrame;
  resp->dataLen = sizeof(ReportFrame_t);
  report_finish=1;

  return;
}

static void onEventStartCharging(RS484_BUS_Id_t id, uint8_t *buffer, uint16_t bufferLen, RS485_Bus_EventResponse_t *resp)
{
  // TODO start charing

	if(id==RS485_SLAVE_ID_1) 	  slot1.charge_command=1;
	else if(id==RS485_SLAVE_ID_2) slot2.charge_command=1;
	resp->data = (uint8_t*) &eventRespSuccess;
	resp->dataLen = sizeof(eventRespSuccess);
	return;
}

static void onEventStopCharging(RS484_BUS_Id_t id, uint8_t *buffer, uint16_t bufferLen, RS485_Bus_EventResponse_t *resp)
{
  // TODO stop charing
	if(id==RS485_SLAVE_ID_1)slot1.stop_charge_command=1;
	else if(id==RS485_SLAVE_ID_2)slot2.stop_charge_command=1;
	resp->data = (uint8_t*) &eventRespSuccess;
	resp->dataLen = sizeof(eventRespSuccess);
	return;
}

static void onEventLock(RS484_BUS_Id_t id, uint8_t *buffer, uint16_t bufferLen, RS485_Bus_EventResponse_t *resp)
{
  // TODO lock aktuator
	if(id==RS485_SLAVE_ID_1) slot1.lock_command=1;
	if(id==RS485_SLAVE_ID_2) slot2.lock_command=1;
	resp->data = (uint8_t*) &eventRespSuccess;
	resp->dataLen = sizeof(eventRespSuccess);
	return;

}

static void onEventUnlock(RS484_BUS_Id_t id, uint8_t *buffer, uint16_t bufferLen, RS485_Bus_EventResponse_t *resp)
{
  // TODO unlock aktuator
	if(id==RS485_SLAVE_ID_1)slot1.unlock_command=1;
	else if(id==RS485_SLAVE_ID_2)slot2.unlock_command=1;
	resp->data = (uint8_t*) &eventRespSuccess;
	resp->dataLen = sizeof(eventRespSuccess);
	return;
}
/* USER CODE END 4 */

void Error_Handler(void)
{
  __disable_irq();
  while (1)
  {
  }
}
